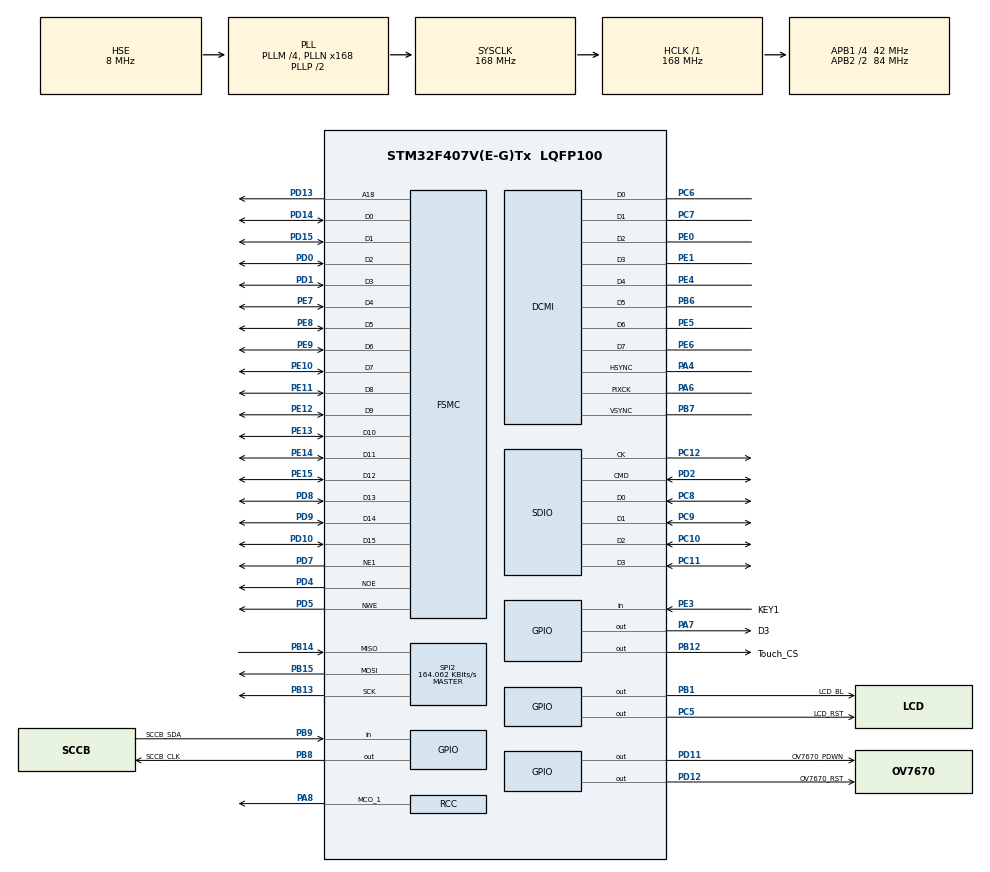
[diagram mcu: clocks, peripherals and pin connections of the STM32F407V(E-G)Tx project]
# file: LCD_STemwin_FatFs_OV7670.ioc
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DCMI.HSPolarity=DCMI_HSPOLARITY_HIGH
DCMI.JPEGMode=DCMI_JPEG_DISABLE
DCMI.VSPolarity=DCMI_VSPOLARITY_HIGH
Dma.DCMI.0.Direction=DMA_PERIPH_TO_MEMORY
Dma.DCMI.0.FIFOMode=DMA_FIFOMODE_DISABLE
Dma.DCMI.0.Instance=DMA2_Stream1
Dma.DCMI.0.MemDataAlignment=DMA_MDATAALIGN_WORD
Dma.DCMI.0.MemInc=DMA_MINC_ENABLE
Dma.DCMI.0.Mode=DMA_NORMAL
Dma.DCMI.0.PeriphDataAlignment=DMA_PDATAALIGN_WORD
Dma.DCMI.0.PeriphInc=DMA_PINC_DISABLE
Dma.DCMI.0.Priority=DMA_PRIORITY_LOW
Dma.Request0=DCMI
FATFS.USE_DMA_CODE_SD=0
FSMC.AddressSetupTime1=8
FSMC.BusTurnAroundDuration1=0
FSMC.DataSetupTime1=20
Mcu.Family=STM32F4
Mcu.Name=STM32F407V(E-G)Tx
Mcu.Package=LQFP100
NVIC.DMA2_Stream1_IRQn=true\:0\:0\:false\:false\:true\:false\:true
NVIC.PriorityGroup=NVIC_PRIORITYGROUP_4
PA13.Mode=Serial_Wire
PA13.Signal=SYS_JTMS-SWDIO
PA14.Mode=Serial_Wire
PA14.Signal=SYS_JTCK-SWCLK
PA4.Mode=Slave_8_bits_External_Synchro
PA4.Signal=DCMI_HSYNC
PA6.Mode=Slave_8_bits_External_Synchro
PA6.Signal=DCMI_PIXCK
PA7.GPIO_Label=D3
PA7.GPIO_Speed=GPIO_SPEED_FREQ_VERY_HIGH
PA7.Signal=GPIO_Output
PA8.Mode=Clock-out-1
PA8.Signal=RCC_MCO_1
PB1.GPIO_Label=LCD_BL
PB1.GPIO_Speed=GPIO_SPEED_FREQ_VERY_HIGH
PB1.Signal=GPIO_Output
PB12.GPIO_Label=Touch_CS
PB12.GPIO_Speed=GPIO_SPEED_FREQ_VERY_HIGH
PB12.Signal=GPIO_Output
PB13.Mode=Full_Duplex_Master
PB13.Signal=SPI2_SCK
PB14.Mode=Full_Duplex_Master
PB14.Signal=SPI2_MISO
PB15.Mode=Full_Duplex_Master
PB15.Signal=SPI2_MOSI
PB6.Mode=Slave_8_bits_External_Synchro
PB6.Signal=DCMI_D5
PB7.Mode=Slave_8_bits_External_Synchro
PB7.Signal=DCMI_VSYNC
PB8.GPIO_Label=SCCB_CLK
PB8.GPIO_PuPd=GPIO_PULLUP
PB8.Signal=GPIO_Output
PB9.GPIO_Label=SCCB_SDA
PB9.GPIO_PuPd=GPIO_PULLUP
PB9.Signal=GPIO_Input
PC10.Mode=SD_4_bits_Wide_bus
PC10.Signal=SDIO_D2
PC11.Mode=SD_4_bits_Wide_bus
PC11.Signal=SDIO_D3
PC12.Mode=SD_4_bits_Wide_bus
PC12.Signal=SDIO_CK
PC14-OSC32_IN.Mode=LSE-External-Oscillator
PC14-OSC32_IN.Signal=RCC_OSC32_IN
PC15-OSC32_OUT.Mode=LSE-External-Oscillator
PC15-OSC32_OUT.Signal=RCC_OSC32_OUT
PC5.GPIO_Label=LCD_RST
PC5.GPIO_Speed=GPIO_SPEED_FREQ_VERY_HIGH
PC5.Signal=GPIO_Output
PC6.Mode=Slave_8_bits_External_Synchro
PC6.Signal=DCMI_D0
PC7.Mode=Slave_8_bits_External_Synchro
PC7.Signal=DCMI_D1
PC8.Mode=SD_4_bits_Wide_bus
PC8.Signal=SDIO_D0
PC9.Mode=SD_4_bits_Wide_bus
PC9.Signal=SDIO_D1
PD0.Mode=16b-d1
PD0.Signal=FSMC_D2
PD1.Mode=16b-d1
PD1.Signal=FSMC_D3
PD10.Mode=16b-d1
PD10.Signal=FSMC_D15
PD11.GPIO_Label=OV7670_PDWN
PD11.GPIO_Speed=GPIO_SPEED_FREQ_VERY_HIGH
PD11.Signal=GPIO_Output
PD12.GPIO_Label=OV7670_RST
PD12.GPIO_Speed=GPIO_SPEED_FREQ_VERY_HIGH
PD12.Signal=GPIO_Output
PD13.Mode=A18_1
PD13.Signal=FSMC_A18
PD14.Mode=16b-d1
PD14.Signal=FSMC_D0
PD15.Mode=16b-d1
PD15.Signal=FSMC_D1
PD2.Mode=SD_4_bits_Wide_bus
PD2.Signal=SDIO_CMD
PD4.Mode=Lcd1
PD4.Signal=FSMC_NOE
PD5.Mode=Lcd1
PD5.Signal=FSMC_NWE
PD7.Mode=NorPsramChipSelect1_1
PD7.Signal=FSMC_NE1
PD8.Mode=16b-d1
PD8.Signal=FSMC_D13
PD9.Mode=16b-d1
PD9.Signal=FSMC_D14
PE0.Mode=Slave_8_bits_External_Synchro
PE0.Signal=DCMI_D2
PE1.Mode=Slave_8_bits_External_Synchro
PE1.Signal=DCMI_D3
PE10.Mode=16b-d1
PE10.Signal=FSMC_D7
PE11.Mode=16b-d1
PE11.Signal=FSMC_D8
PE12.Mode=16b-d1
PE12.Signal=FSMC_D9
PE13.Mode=16b-d1
PE13.Signal=FSMC_D10
PE14.Mode=16b-d1
PE14.Signal=FSMC_D11
PE15.Mode=16b-d1
PE15.Signal=FSMC_D12
PE3.GPIO_Label=KEY1
PE3.Signal=GPIO_Input
PE4.Mode=Slave_8_bits_External_Synchro
PE4.Signal=DCMI_D4
PE5.Mode=Slave_8_bits_External_Synchro
PE5.Signal=DCMI_D6
PE6.Mode=Slave_8_bits_External_Synchro
PE6.Signal=DCMI_D7
PE7.Mode=16b-d1
PE7.Signal=FSMC_D4
PE8.Mode=16b-d1
PE8.Signal=FSMC_D5
PE9.Mode=16b-d1
PE9.Signal=FSMC_D6
PH0-OSC_IN.Mode=HSE-External-Oscillator
PH0-OSC_IN.Signal=RCC_OSC_IN
PH1-OSC_OUT.Mode=HSE-External-Oscillator
PH1-OSC_OUT.Signal=RCC_OSC_OUT
ProjectManager.HeapSize=0x1000
ProjectManager.StackSize=0x1200
ProjectManager.TargetToolchain=MDK-ARM V5
RCC.48MHZClocksFreq_Value=48000000
RCC.AHBFreq_Value=168000000
RCC.APB1CLKDivider=RCC_HCLK_DIV4
RCC.APB1Freq_Value=42000000
RCC.APB1TimFreq_Value=84000000
RCC.APB2CLKDivider=RCC_HCLK_DIV2
RCC.APB2Freq_Value=84000000
RCC.APB2TimFreq_Value=168000000
RCC.CortexFreq_Value=168000000
RCC.EnbaleCSS=true
RCC.HCLKFreq_Value=168000000
RCC.HSE_VALUE=8000000
RCC.HSI_VALUE=16000000
RCC.PLLM=4
RCC.PLLN=168
RCC.PLLQ=7
RCC.PLLSourceVirtual=RCC_PLLSOURCE_HSE
RCC.SYSCLKFreq_VALUE=168000000
RCC.SYSCLKSource=RCC_SYSCLKSOURCE_PLLCLK
RCC.VCOOutputFreq_Value=336000000
SPI2.BaudRatePrescaler=SPI_BAUDRATEPRESCALER_256
SPI2.CLKPhase=SPI_PHASE_1EDGE
SPI2.CLKPolarity=SPI_POLARITY_LOW
SPI2.CalculateBaudRate=164.062 KBits/s
SPI2.Direction=SPI_DIRECTION_2LINES
SPI2.Mode=SPI_MODE_MASTER
SPI2.VirtualType=VM_MASTER
VP_CRC_VS_CRC.Mode=CRC_Activate
VP_FATFS_VS_SDIO.Mode=SDIO
board=LCD_Drive

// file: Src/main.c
/* USER CODE BEGIN Header */
/**
  ******************************************************************************
  * @file           : main.c
  * @brief          : Main program body
  ******************************************************************************
  ** This notice applies to any and all portions of this file
  * that are not between comment pairs USER CODE BEGIN and
  * USER CODE END. Other portions of this file, whether
  * inserted by the user or by software development tools
  * are owned by their respective copyright owners.
  *
  * COPYRIGHT(c) 2019 STMicroelectronics
  *
  * Redistribution and use in source and binary forms, with or without modification,
  * are permitted provided that the following conditions are met:
  *   1. Redistributions of source code must retain the above copyright notice,
  *      this list of conditions and the following disclaimer.
  *   2. Redistributions in binary form must reproduce the above copyright notice,
  *      this list of conditions and the following disclaimer in the documentation
  *      and/or other materials provided with the distribution.
  *   3. Neither the name of STMicroelectronics nor the names of its contributors
  *      may be used to endorse or promote products derived from this software
  *      without specific prior written permission.
  *
  * THIS SOFTWARE IS PROVIDED BY THE COPYRIGHT HOLDERS AND CONTRIBUTORS "AS IS"
  * AND ANY EXPRESS OR IMPLIED WARRANTIES, INCLUDING, BUT NOT LIMITED TO, THE
  * IMPLIED WARRANTIES OF MERCHANTABILITY AND FITNESS FOR A PARTICULAR PURPOSE ARE
  * DISCLAIMED. IN NO EVENT SHALL THE COPYRIGHT HOLDER OR CONTRIBUTORS BE LIABLE
  * FOR ANY DIRECT, INDIRECT, INCIDENTAL, SPECIAL, EXEMPLARY, OR CONSEQUENTIAL
  * DAMAGES (INCLUDING, BUT NOT LIMITED TO, PROCUREMENT OF SUBSTITUTE GOODS OR
  * SERVICES; LOSS OF USE, DATA, OR PROFITS; OR BUSINESS INTERRUPTION) HOWEVER
  * CAUSED AND ON ANY THEORY OF LIABILITY, WHETHER IN CONTRACT, STRICT LIABILITY,
  * OR TORT (INCLUDING NEGLIGENCE OR OTHERWISE) ARISING IN ANY WAY OUT OF THE USE
  * OF THIS SOFTWARE, EVEN IF ADVISED OF THE POSSIBILITY OF SUCH DAMAGE.
  *
  ******************************************************************************
  */
/* USER CODE END Header */

#include "main.h"
#include "crc.h"
#include "dcmi.h"
#include "dma.h"
#include "fatfs.h"
#include "sdio.h"
#include "spi.h"
#include "gpio.h"
#include "fsmc.h"

/* USER CODE BEGIN Includes */
#include "OV7670.h"

#include "BSP_LCD.h"

#include "bmp.h"
/* USER CODE END Includes */

/* USER CODE BEGIN PV */
/* Private variables ---------------------------------------------------------*/
#define FRAMEWIDTH 160
#define FRAMEHIGTH 120

uint8_t Frame_buff[FRAMEWIDTH*FRAMEHIGTH*2];

uint32_t Pixel_X_Index=0,Pixel_Y_Index=0,i=0,JPEG_Index=0;

char str_buf[16]={0};

//struct jpeg_compress_struct cinfo;

/* USER CODE END PV */

void SystemClock_Config(void);
/* USER CODE BEGIN PFP */
/* Private function prototypes -----------------------------------------------*/
void BSP_CAMERA_ContinuousStart(uint8_t *buff);

/* USER CODE END PFP */

int main(void)
{

  /* MCU Configuration--------------------------------------------------------*/

  /* Reset of all peripherals, Initializes the Flash interface and the Systick. */
  HAL_Init();

  /* Configure the system clock */
  SystemClock_Config();

  /* Initialize all configured peripherals */
  MX_GPIO_Init();
  MX_DMA_Init();
  MX_FSMC_Init();
  MX_CRC_Init();
  MX_SPI2_Init();
  MX_DCMI_Init();
  MX_SDIO_SD_Init();
  MX_FATFS_Init();
  /* USER CODE BEGIN 2 */

		Lcd_Initialize();
		Lcd_ColorBox(0,0,320,240,0xFFF);

		OV7670_Init();
		Lcd_ColorBox(0,0,160,120,0x00);

		f_mount(&SDFatFS,(TCHAR const*)SDPath,0);

  /* USER CODE END 2 */

  /* Infinite loop */
  while (1)
  {

    /* USER CODE BEGIN 3 */
				BSP_CAMERA_ContinuousStart( (uint8_t *)Frame_buff );
    HAL_DCMI_Stop(&hdcmi);

//				LCD_WR_REG(0x01, 0x0127);
//				LCD_WR_REG(0x03, 0x000A); //横屏，从左下角开始，从左到右，从下到上
//				BlockWrite(0, 0 + 120 - 1, 0, 0 + 160 - 1);
//				for (i = 0; i < 120 * 160 * 2; i += 2)
//				{
//					*(__IO uint16_t *)(Bank1_LCD_D) = Frame_buff[i]<<8|Frame_buff[i+1];
//				}
//				LCD_WR_REG(0x01, 0x1027);
//				LCD_WR_REG(0x03, 0x010A); //横屏，从右上角开始，从左到右，从上到下

//				Lcd_SetCursor(0,0);
//				for(Pixel_Y_Index=0;Pixel_Y_Index<120;Pixel_Y_Index++)
//				{
//						for(Pixel_X_Index=0;Pixel_X_Index<160;Pixel_X_Index++)
//						{
//							 i=Pixel_X_Index*2+Pixel_Y_Index*FRAMEWIDTH*2;
//							 i=Pixel_X_Index+Pixel_Y_Index*FRAMEWIDTH;
//								DrawPixel(Pixel_X_Index, Pixel_Y_Index, (Frame_buff[i]<<8)|(Frame_buff[i+1]) );
//						}
//				}
//				sprintf(str_buf,"%dth.bmp",JPEG_Index);
//    bmp_encode(str_buf,(uint8_t *)Frame_buff,FRAMEWIDTH,FRAMEHIGTH);
//				JPEG_Index++;

  }
  /* USER CODE END 3 */
}

void SystemClock_Config(void)
{
  RCC_OscInitTypeDef RCC_OscInitStruct = {0};
  RCC_ClkInitTypeDef RCC_ClkInitStruct = {0};

  /**Configure the main internal regulator output voltage
  */
  __HAL_RCC_PWR_CLK_ENABLE();
  __HAL_PWR_VOLTAGESCALING_CONFIG(PWR_REGULATOR_VOLTAGE_SCALE1);
  /**Initializes the CPU, AHB and APB busses clocks
  */
  RCC_OscInitStruct.OscillatorType = RCC_OSCILLATORTYPE_HSI|RCC_OSCILLATORTYPE_HSE;
  RCC_OscInitStruct.HSEState = RCC_HSE_ON;
  RCC_OscInitStruct.HSIState = RCC_HSI_ON;
  RCC_OscInitStruct.HSICalibrationValue = RCC_HSICALIBRATION_DEFAULT;
  RCC_OscInitStruct.PLL.PLLState = RCC_PLL_ON;
  RCC_OscInitStruct.PLL.PLLSource = RCC_PLLSOURCE_HSE;
  RCC_OscInitStruct.PLL.PLLM = 4;
  RCC_OscInitStruct.PLL.PLLN = 168;
  RCC_OscInitStruct.PLL.PLLP = RCC_PLLP_DIV2;
  RCC_OscInitStruct.PLL.PLLQ = 7;
  if (HAL_RCC_OscConfig(&RCC_OscInitStruct) != HAL_OK)
  {
    Error_Handler();
  }
  /**Initializes the CPU, AHB and APB busses clocks
  */
  RCC_ClkInitStruct.ClockType = RCC_CLOCKTYPE_HCLK|RCC_CLOCKTYPE_SYSCLK
                              |RCC_CLOCKTYPE_PCLK1|RCC_CLOCKTYPE_PCLK2;
  RCC_ClkInitStruct.SYSCLKSource = RCC_SYSCLKSOURCE_PLLCLK;
  RCC_ClkInitStruct.AHBCLKDivider = RCC_SYSCLK_DIV1;
  RCC_ClkInitStruct.APB1CLKDivider = RCC_HCLK_DIV4;
  RCC_ClkInitStruct.APB2CLKDivider = RCC_HCLK_DIV2;

  if (HAL_RCC_ClockConfig(&RCC_ClkInitStruct, FLASH_LATENCY_5) != HAL_OK)
  {
    Error_Handler();
  }
  HAL_RCC_MCOConfig(RCC_MCO1, RCC_MCO1SOURCE_HSI, RCC_MCODIV_1);
  /**Enables the Clock Security System
  */
  HAL_RCC_EnableCSS();
}

/* USER CODE BEGIN 4 */

void BSP_CAMERA_ContinuousStart(uint8_t *buff)
{
  HAL_DCMI_Start_DMA(&hdcmi, DCMI_MODE_SNAPSHOT, (uint32_t)buff, FRAMEWIDTH*FRAMEHIGTH*2);
}

/* USER CODE END 4 */

void Error_Handler(void)
{
  while(1)
  {
  }
}

/************************ (C) COPYRIGHT STMicroelectronics *****END OF FILE****/
